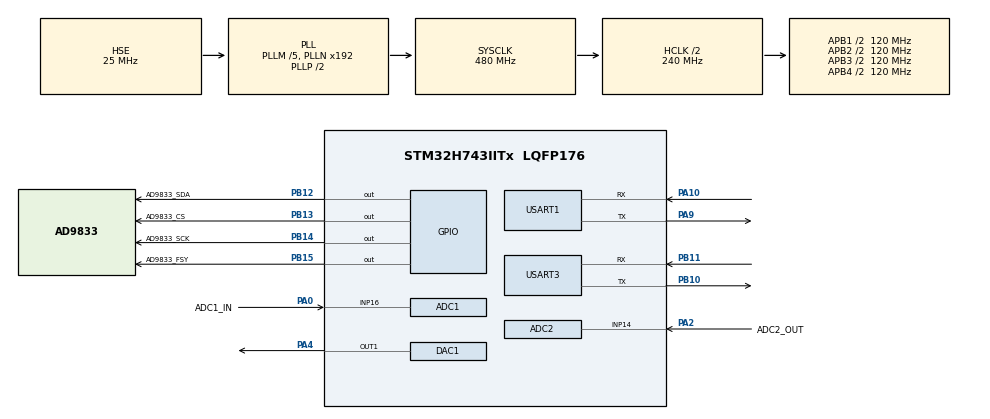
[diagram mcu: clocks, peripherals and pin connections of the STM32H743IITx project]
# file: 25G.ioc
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ADC1.Channel-0\#ChannelRegularConversion=ADC_CHANNEL_16
ADC1.ConversionDataManagement=ADC_CONVERSIONDATA_DMA_ONESHOT
ADC1.ExternalTrigConv=ADC_EXTERNALTRIG_T8_TRGO
ADC1.NbrOfConversionFlag=1
ADC1.OffsetNumber-0\#ChannelRegularConversion=ADC_OFFSET_NONE
ADC1.OffsetSignedSaturation-0\#ChannelRegularConversion=DISABLE
ADC1.Rank-0\#ChannelRegularConversion=1
ADC1.SamplingTime-0\#ChannelRegularConversion=ADC_SAMPLETIME_1CYCLE_5
ADC1.master=1
ADC2.Channel-0\#ChannelRegularConversion=ADC_CHANNEL_14
ADC2.ConversionDataManagement=ADC_CONVERSIONDATA_DMA_ONESHOT
ADC2.ExternalTrigConv=ADC_EXTERNALTRIG_T8_TRGO
ADC2.NbrOfConversion=1
ADC2.NbrOfConversionFlag=1
ADC2.OffsetNumber-0\#ChannelRegularConversion=ADC_OFFSET_NONE
ADC2.OffsetSignedSaturation-0\#ChannelRegularConversion=DISABLE
ADC2.Rank-0\#ChannelRegularConversion=1
ADC2.SamplingTime-0\#ChannelRegularConversion=ADC_SAMPLETIME_1CYCLE_5
DAC1.DAC_Channel-DAC_OUT1=DAC_CHANNEL_1
DAC1.DAC_Trigger-DAC_OUT1=DAC_TRIGGER_T8_TRGO
Dma.ADC1.0.Direction=DMA_PERIPH_TO_MEMORY
Dma.ADC1.0.EventEnable=DISABLE
Dma.ADC1.0.FIFOMode=DMA_FIFOMODE_DISABLE
Dma.ADC1.0.Instance=DMA1_Stream0
Dma.ADC1.0.MemDataAlignment=DMA_MDATAALIGN_HALFWORD
Dma.ADC1.0.MemInc=DMA_MINC_ENABLE
Dma.ADC1.0.Mode=DMA_NORMAL
Dma.ADC1.0.PeriphDataAlignment=DMA_PDATAALIGN_HALFWORD
Dma.ADC1.0.PeriphInc=DMA_PINC_DISABLE
Dma.ADC1.0.Polarity=HAL_DMAMUX_REQ_GEN_RISING
Dma.ADC1.0.Priority=DMA_PRIORITY_LOW
Dma.ADC1.0.RequestNumber=1
Dma.ADC1.0.SignalID=NONE
Dma.ADC1.0.SyncEnable=DISABLE
Dma.ADC1.0.SyncPolarity=HAL_DMAMUX_SYNC_NO_EVENT
Dma.ADC1.0.SyncRequestNumber=1
Dma.ADC1.0.SyncSignalID=NONE
Dma.ADC2.1.Direction=DMA_PERIPH_TO_MEMORY
Dma.ADC2.1.EventEnable=DISABLE
Dma.ADC2.1.FIFOMode=DMA_FIFOMODE_DISABLE
Dma.ADC2.1.Instance=DMA1_Stream1
Dma.ADC2.1.MemDataAlignment=DMA_MDATAALIGN_HALFWORD
Dma.ADC2.1.MemInc=DMA_MINC_ENABLE
Dma.ADC2.1.Mode=DMA_NORMAL
Dma.ADC2.1.PeriphDataAlignment=DMA_PDATAALIGN_HALFWORD
Dma.ADC2.1.PeriphInc=DMA_PINC_DISABLE
Dma.ADC2.1.Polarity=HAL_DMAMUX_REQ_GEN_RISING
Dma.ADC2.1.Priority=DMA_PRIORITY_LOW
Dma.ADC2.1.RequestNumber=1
Dma.ADC2.1.SignalID=NONE
Dma.ADC2.1.SyncEnable=DISABLE
Dma.ADC2.1.SyncPolarity=HAL_DMAMUX_SYNC_NO_EVENT
Dma.ADC2.1.SyncRequestNumber=1
Dma.ADC2.1.SyncSignalID=NONE
Dma.DAC1_CH1.2.Direction=DMA_MEMORY_TO_PERIPH
Dma.DAC1_CH1.2.EventEnable=DISABLE
Dma.DAC1_CH1.2.FIFOMode=DMA_FIFOMODE_DISABLE
Dma.DAC1_CH1.2.Instance=DMA1_Stream2
Dma.DAC1_CH1.2.MemDataAlignment=DMA_MDATAALIGN_HALFWORD
Dma.DAC1_CH1.2.MemInc=DMA_MINC_ENABLE
Dma.DAC1_CH1.2.Mode=DMA_CIRCULAR
Dma.DAC1_CH1.2.PeriphDataAlignment=DMA_PDATAALIGN_HALFWORD
Dma.DAC1_CH1.2.PeriphInc=DMA_PINC_DISABLE
Dma.DAC1_CH1.2.Polarity=HAL_DMAMUX_REQ_GEN_RISING
Dma.DAC1_CH1.2.Priority=DMA_PRIORITY_HIGH
Dma.DAC1_CH1.2.RequestNumber=1
Dma.DAC1_CH1.2.SignalID=NONE
Dma.DAC1_CH1.2.SyncEnable=DISABLE
Dma.DAC1_CH1.2.SyncPolarity=HAL_DMAMUX_SYNC_NO_EVENT
Dma.DAC1_CH1.2.SyncRequestNumber=1
Dma.DAC1_CH1.2.SyncSignalID=NONE
Dma.Request0=ADC1
Dma.Request1=ADC2
Dma.Request2=DAC1_CH1
Mcu.Family=STM32H7
Mcu.Name=STM32H743IITx
Mcu.Package=LQFP176
NVIC.DMA1_Stream0_IRQn=true\:1\:0\:false\:false\:true\:false\:true
NVIC.DMA1_Stream1_IRQn=true\:1\:0\:false\:false\:true\:false\:true
NVIC.DMA1_Stream2_IRQn=true\:1\:0\:false\:false\:true\:false\:true
NVIC.PriorityGroup=NVIC_PRIORITYGROUP_4
NVIC.USART1_IRQn=true\:0\:0\:false\:false\:true\:true\:true
PA0.GPIO_Label=ADC1_IN
PA0.Mode=IN16-Single-Ended
PA0.Signal=ADC1_INP16
PA10.Mode=Asynchronous
PA10.Signal=USART1_RX
PA13\ (JTMS/SWDIO).Mode=Serial_Wire
PA13\ (JTMS/SWDIO).Signal=DEBUG_JTMS-SWDIO
PA14\ (JTCK/SWCLK).Mode=Serial_Wire
PA14\ (JTCK/SWCLK).Signal=DEBUG_JTCK-SWCLK
PA2.GPIO_Label=ADC2_OUT
PA2.Signal=ADCx_INP14
PA4.Signal=COMP_DAC11_group
PA9.Mode=Asynchronous
PA9.Signal=USART1_TX
PB10.Mode=Asynchronous
PB10.Signal=USART3_TX
PB11.Mode=Asynchronous
PB11.Signal=USART3_RX
PB12.GPIO_Label=AD9833_SDA
PB12.GPIO_Speed=GPIO_SPEED_FREQ_HIGH
PB12.PinState=GPIO_PIN_SET
PB12.Signal=GPIO_Output
PB13.GPIO_Label=AD9833_CS
PB13.PinState=GPIO_PIN_SET
PB13.Signal=GPIO_Output
PB14.GPIO_Label=AD9833_SCK
PB14.GPIO_Speed=GPIO_SPEED_FREQ_HIGH
PB14.PinState=GPIO_PIN_SET
PB14.Signal=GPIO_Output
PB15.GPIO_Label=AD9833_FSY
PB15.GPIO_Speed=GPIO_SPEED_FREQ_HIGH
PB15.PinState=GPIO_PIN_SET
PB15.Signal=GPIO_Output
PC14-OSC32_IN\ (OSC32_IN).Mode=LSE-External-Oscillator
PC14-OSC32_IN\ (OSC32_IN).Signal=RCC_OSC32_IN
PC15-OSC32_OUT\ (OSC32_OUT).Mode=LSE-External-Oscillator
PC15-OSC32_OUT\ (OSC32_OUT).Signal=RCC_OSC32_OUT
PH0-OSC_IN\ (PH0).Mode=HSE-External-Oscillator
PH0-OSC_IN\ (PH0).Signal=RCC_OSC_IN
PH1-OSC_OUT\ (PH1).Mode=HSE-External-Oscillator
PH1-OSC_OUT\ (PH1).Signal=RCC_OSC_OUT
ProjectManager.HeapSize=0x200
ProjectManager.StackSize=0x400
ProjectManager.TargetToolchain=MDK-ARM V5
RCC.ADCFreq_Value=75000000
RCC.APB1Freq_Value=120000000
RCC.APB2Freq_Value=120000000
RCC.APB3Freq_Value=120000000
RCC.APB4Freq_Value=120000000
RCC.CortexFreq_Value=480000000
RCC.D1PPRE=RCC_APB3_DIV2
RCC.D2PPRE1=RCC_APB1_DIV2
RCC.D2PPRE2=RCC_APB2_DIV2
RCC.D3PPRE=RCC_APB4_DIV2
RCC.DIVM1=5
RCC.DIVM2=2
RCC.DIVN1=192
RCC.DIVN2=12
RCC.HCLKFreq_Value=240000000
RCC.HPRE=RCC_HCLK_DIV2
RCC.PLLFRACN=0
RCC.PLLSourceVirtual=RCC_PLLSOURCE_HSE
RCC.PWR_Regulator_Voltage_Scale=PWR_REGULATOR_VOLTAGE_SCALE0
RCC.SYSCLKFreq_VALUE=480000000
RCC.SYSCLKSource=RCC_SYSCLKSOURCE_PLLCLK
RCC.USBFreq_Value=480000000
SH.ADCx_INP14.0=ADC2_INP14,IN14-Single-Ended
SH.COMP_DAC11_group.0=DAC1_OUT1,DAC_OUT1
TIM8.Period=20-1
TIM8.Prescaler=12-1
TIM8.TIM_MasterOutputTrigger=TIM_TRGO_UPDATE
USART1.VirtualMode-Asynchronous=VM_ASYNC
USART3.VirtualMode-Asynchronous=VM_ASYNC
VP_TIM8_VS_ClockSourceINT.Mode=Internal
board=custom

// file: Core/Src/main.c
/* USER CODE BEGIN Header */
/**
 ******************************************************************************
 * @file           : main.c
 * @brief          : Main program body
 ******************************************************************************
 * @attention
 *
 * <h2><center>&copy; Copyright (c) 2026 STMicroelectronics.
 * All rights reserved.</center></h2>
 *
 * This software component is licensed by ST under Ultimate Liberty license
 * SLA0044, the "License"; You may not use this file except in compliance with
 * the License. You may obtain a copy of the License at:
 *                             www.st.com/SLA0044
 *
 ******************************************************************************
 */
/* USER CODE END Header */
#include "main.h"
#include "adc.h"
#include "dac.h"
#include "dma.h"
#include "gpio.h"
#include "tim.h"
#include "usart.h"

/* USER CODE BEGIN Includes */
#include "FFT.h"
#include "ad9833.h"
#include "command.h"
#include "iir.h"
#include "modify_adc.h"
#include "realtime_filter.h"
#include "state.h"

/* USER CODE END Includes */

/* USER CODE BEGIN PV */
#define TIM8_COUNTER_CLK_HZ 240000000

uint16_t ADC1_IN[ADC_LEN] = {0};
uint16_t ADC2_OUT[ADC_LEN] = {0};

/* USER CODE END PV */

void SystemClock_Config(void);
void PeriphCommonClock_Config(void);

/* USER CODE BEGIN 0 */
void Start_ADC_Capture(void)
{
    HAL_ADC_Stop_DMA(&hadc1);
    HAL_ADC_Stop_DMA(&hadc2);

    App_ADC_SetMode(ADC_MODE_LEARN);
    g_adc_mode_ctrl.adc1_done = 0;
    g_adc_mode_ctrl.adc2_done = 0;
    g_adc_mode_ctrl.adc_flag = 0;
    g_adc_mode_ctrl.iir_adc_half_ready = 0;
    g_adc_mode_ctrl.iir_adc_full_ready = 0;
    g_adc_mode_ctrl.iir_dac_half_ready = 0;
    g_adc_mode_ctrl.iir_dac_full_ready = 0;
    g_adc_mode_ctrl.iir_overrun_count = 0;
    g_adc_mode_ctrl.iir_adc_half_irq_count = 0;
    g_adc_mode_ctrl.iir_adc_full_irq_count = 0;
    g_adc_mode_ctrl.iir_dac_half_irq_count = 0;
    g_adc_mode_ctrl.iir_dac_full_irq_count = 0;
    g_adc_mode_ctrl.iir_dac_error_count = 0;
    HAL_ADC_Start_DMA(&hadc1, (uint32_t *)ADC1_IN, ADC_LEN);
    HAL_ADC_Start_DMA(&hadc2, (uint32_t *)ADC2_OUT, ADC_LEN);
}
/* USER CODE END 0 */

int main(void)
{

    /* MCU Configuration--------------------------------------------------------*/

    /* Reset of all peripherals, Initializes the Flash interface and the Systick. */
    HAL_Init();

    /* Configure the system clock */
    SystemClock_Config();

    /* Configure the peripherals common clocks */
    PeriphCommonClock_Config();

    /* Initialize all configured peripherals */
    MX_GPIO_Init();
    MX_DMA_Init();
    MX_ADC1_Init();
    MX_USART1_UART_Init();
    MX_ADC2_Init();
    MX_USART3_UART_Init();
    MX_DAC1_Init();
    MX_TIM8_Init();
    /* USER CODE BEGIN 2 */
    HAL_ADCEx_Calibration_Start(&hadc1, ADC_CALIB_OFFSET, ADC_SINGLE_ENDED);
    HAL_ADCEx_Calibration_Start(&hadc2, ADC_CALIB_OFFSET, ADC_SINGLE_ENDED);
    HAL_TIM_Base_Start(&htim8);
    RealtimeFilter_Init();
    My_Usart_Init();
    AD9833_Init_GPIO();
    State_Init();
    // AD9833_WaveSeting(1000,0,SIN_WAVE,0 );
    // AD9833_AmpSet(30);
    // for(int i=1;i<=255;i++){
    //	AD9833_AmpSet(i);
    //	HAL_Delay(100);
    // }
    /* USER CODE END 2 */

    /* Infinite loop */
    /* USER CODE BEGIN WHILE */
    while (1)
    {
        Usart_Rx_Proc();
        State_Proc();
        /* USER CODE END WHILE */

    }
}

void SystemClock_Config(void)
{
    RCC_OscInitTypeDef RCC_OscInitStruct = {0};
    RCC_ClkInitTypeDef RCC_ClkInitStruct = {0};

    /** Supply configuration update enable
     */
    HAL_PWREx_ConfigSupply(PWR_LDO_SUPPLY);
    /** Configure the main internal regulator output voltage
     */
    __HAL_PWR_VOLTAGESCALING_CONFIG(PWR_REGULATOR_VOLTAGE_SCALE0);

    while (!__HAL_PWR_GET_FLAG(PWR_FLAG_VOSRDY))
    {
    }
    /** Macro to configure the PLL clock source
     */
    __HAL_RCC_PLL_PLLSOURCE_CONFIG(RCC_PLLSOURCE_HSE);
    /** Initializes the RCC Oscillators according to the specified parameters
     * in the RCC_OscInitTypeDef structure.
     */
    RCC_OscInitStruct.OscillatorType = RCC_OSCILLATORTYPE_HSE;
    RCC_OscInitStruct.HSEState = RCC_HSE_ON;
    RCC_OscInitStruct.PLL.PLLState = RCC_PLL_ON;
    RCC_OscInitStruct.PLL.PLLSource = RCC_PLLSOURCE_HSE;
    RCC_OscInitStruct.PLL.PLLM = 5;
    RCC_OscInitStruct.PLL.PLLN = 192;
    RCC_OscInitStruct.PLL.PLLP = 2;
    RCC_OscInitStruct.PLL.PLLQ = 2;
    RCC_OscInitStruct.PLL.PLLR = 2;
    RCC_OscInitStruct.PLL.PLLRGE = RCC_PLL1VCIRANGE_2;
    RCC_OscInitStruct.PLL.PLLVCOSEL = RCC_PLL1VCOWIDE;
    RCC_OscInitStruct.PLL.PLLFRACN = 0;
    if (HAL_RCC_OscConfig(&RCC_OscInitStruct) != HAL_OK)
    {
        Error_Handler();
    }
    /** Initializes the CPU, AHB and APB buses clocks
     */
    RCC_ClkInitStruct.ClockType = RCC_CLOCKTYPE_HCLK | RCC_CLOCKTYPE_SYSCLK | RCC_CLOCKTYPE_PCLK1 | RCC_CLOCKTYPE_PCLK2 | RCC_CLOCKTYPE_D3PCLK1 | RCC_CLOCKTYPE_D1PCLK1;
    RCC_ClkInitStruct.SYSCLKSource = RCC_SYSCLKSOURCE_PLLCLK;
    RCC_ClkInitStruct.SYSCLKDivider = RCC_SYSCLK_DIV1;
    RCC_ClkInitStruct.AHBCLKDivider = RCC_HCLK_DIV2;
    RCC_ClkInitStruct.APB3CLKDivider = RCC_APB3_DIV2;
    RCC_ClkInitStruct.APB1CLKDivider = RCC_APB1_DIV2;
    RCC_ClkInitStruct.APB2CLKDivider = RCC_APB2_DIV2;
    RCC_ClkInitStruct.APB4CLKDivider = RCC_APB4_DIV2;

    if (HAL_RCC_ClockConfig(&RCC_ClkInitStruct, FLASH_LATENCY_4) != HAL_OK)
    {
        Error_Handler();
    }
}

void PeriphCommonClock_Config(void)
{
    RCC_PeriphCLKInitTypeDef PeriphClkInitStruct = {0};

    /** Initializes the peripherals clock
     */
    PeriphClkInitStruct.PeriphClockSelection = RCC_PERIPHCLK_ADC;
    PeriphClkInitStruct.PLL2.PLL2M = 2;
    PeriphClkInitStruct.PLL2.PLL2N = 12;
    PeriphClkInitStruct.PLL2.PLL2P = 2;
    PeriphClkInitStruct.PLL2.PLL2Q = 2;
    PeriphClkInitStruct.PLL2.PLL2R = 2;
    PeriphClkInitStruct.PLL2.PLL2RGE = RCC_PLL2VCIRANGE_3;
    PeriphClkInitStruct.PLL2.PLL2VCOSEL = RCC_PLL2VCOMEDIUM;
    PeriphClkInitStruct.PLL2.PLL2FRACN = 0;
    PeriphClkInitStruct.AdcClockSelection = RCC_ADCCLKSOURCE_PLL2;
    if (HAL_RCCEx_PeriphCLKConfig(&PeriphClkInitStruct) != HAL_OK)
    {
        Error_Handler();
    }
}

/* USER CODE BEGIN 4 */
void HAL_ADC_ConvCpltCallback(ADC_HandleTypeDef *hadc)
{
    if (g_adc_mode_ctrl.mode == ADC_MODE_LEARN)
    {
        if (hadc == &hadc1)
        {
            HAL_ADC_Stop_DMA(hadc);
            g_adc_mode_ctrl.adc1_done = 1U;
        }
        else if (hadc == &hadc2)
        {
            HAL_ADC_Stop_DMA(hadc);
            g_adc_mode_ctrl.adc2_done = 1U;
        }

        if (g_adc_mode_ctrl.adc1_done && g_adc_mode_ctrl.adc2_done)
        {
            g_adc_mode_ctrl.adc_flag = 1U;
        }
    }
    else if (g_adc_mode_ctrl.mode == ADC_MODE_FILTER)
    {
        if (hadc == &hadc1)
        {
            g_adc_mode_ctrl.iir_adc_full_irq_count++;
            if (g_adc_mode_ctrl.iir_adc_full_ready != 0U)
            {
                g_adc_mode_ctrl.iir_overrun_count++;
            }
            g_adc_mode_ctrl.iir_adc_full_ready = 1U;
        }
    }
}

void HAL_ADC_ConvHalfCpltCallback(ADC_HandleTypeDef *hadc)
{
    if (g_adc_mode_ctrl.mode == ADC_MODE_FILTER)
    {
        if (hadc == &hadc1)
        {
            g_adc_mode_ctrl.iir_adc_half_irq_count++;
            if (g_adc_mode_ctrl.iir_adc_half_ready != 0U)
            {
                g_adc_mode_ctrl.iir_overrun_count++;
            }
            g_adc_mode_ctrl.iir_adc_half_ready = 1U;
        }
    }
}

void HAL_DAC_ConvCpltCallbackCh1(DAC_HandleTypeDef *hdac)
{
    if ((g_adc_mode_ctrl.mode == ADC_MODE_FILTER) && (hdac == &hdac1))
    {
        g_adc_mode_ctrl.iir_dac_full_irq_count++;
        if (g_adc_mode_ctrl.iir_dac_full_ready != 0U)
        {
            g_adc_mode_ctrl.iir_overrun_count++;
        }
        g_adc_mode_ctrl.iir_dac_full_ready = 1U;
    }
}

void HAL_DAC_ConvHalfCpltCallbackCh1(DAC_HandleTypeDef *hdac)
{
    if ((g_adc_mode_ctrl.mode == ADC_MODE_FILTER) && (hdac == &hdac1))
    {
        g_adc_mode_ctrl.iir_dac_half_irq_count++;
        if (g_adc_mode_ctrl.iir_dac_half_ready != 0U)
        {
            g_adc_mode_ctrl.iir_overrun_count++;
        }
        g_adc_mode_ctrl.iir_dac_half_ready = 1U;
    }
}

void HAL_DAC_ErrorCallbackCh1(DAC_HandleTypeDef *hdac)
{
    if (hdac == &hdac1)
    {
        g_adc_mode_ctrl.iir_dac_error_count++;
    }
}
/* USER CODE END 4 */

void Error_Handler(void)
{
    __disable_irq();
    while (1)
    {
    }
}

/************************ (C) COPYRIGHT STMicroelectronics *****END OF FILE****/
